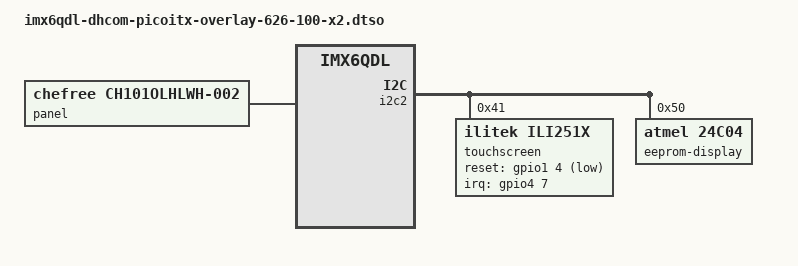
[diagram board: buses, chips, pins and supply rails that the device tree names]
// SPDX-License-Identifier: (GPL-2.0+ OR BSD-3-Clause)
/*
 * Copyright (C) 2023 DH electronics GmbH
 */
/dts-v1/;
/plugin/;

#include "imx6qdl-dhcom-overlay-panel-dpi-lvds-bridge.dtsi"

&display_bl {
	enable-gpios = <&gpio3 27 GPIO_ACTIVE_HIGH>; /* GPIO G */
	pwms = <&pwm1 0 50000 PWM_POLARITY_INVERTED>;
};

&i2c2 {
	#address-cells = <1>;
	#size-cells = <0>;

	touchscreen@41 {
		compatible = "ilitek,ili251x";
		reg = <0x41>;
		interrupt-parent = <&gpio4>;
		interrupts = <7 IRQ_TYPE_EDGE_FALLING>; /* GPIO H */
		reset-gpios = <&gpio1 4 GPIO_ACTIVE_LOW>; /* GPIO B */
		touchscreen-inverted-x;
		touchscreen-inverted-y;
		touchscreen-size-x = <0x4000>;
		touchscreen-size-y = <0x2580>;
	};

	eeprom@50 {
		compatible = "atmel,24c04";
		reg = <0x50>;
		label = "eeprom-display";
		pagesize = <16>;
	};
};

&panel {
	compatible = "chefree,ch101olhlwh-002";
};
